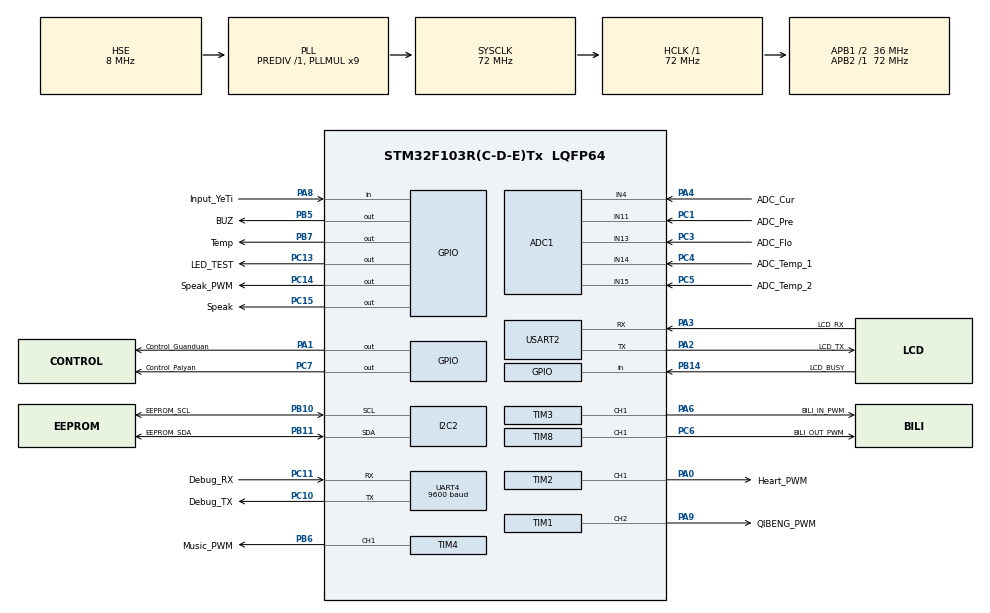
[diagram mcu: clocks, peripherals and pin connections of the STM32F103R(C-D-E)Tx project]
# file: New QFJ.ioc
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ADC1.Channel-0\#ChannelRegularConversion=ADC_CHANNEL_4
ADC1.Channel-1\#ChannelRegularConversion=ADC_CHANNEL_11
ADC1.Channel-2\#ChannelRegularConversion=ADC_CHANNEL_13
ADC1.Channel-3\#ChannelRegularConversion=ADC_CHANNEL_14
ADC1.Channel-4\#ChannelRegularConversion=ADC_CHANNEL_15
ADC1.ContinuousConvMode=ENABLE
ADC1.NbrOfConversion=5
ADC1.NbrOfConversionFlag=1
ADC1.Rank-0\#ChannelRegularConversion=1
ADC1.Rank-1\#ChannelRegularConversion=2
ADC1.Rank-2\#ChannelRegularConversion=3
ADC1.Rank-3\#ChannelRegularConversion=4
ADC1.Rank-4\#ChannelRegularConversion=5
ADC1.SamplingTime-0\#ChannelRegularConversion=ADC_SAMPLETIME_239CYCLES_5
ADC1.SamplingTime-1\#ChannelRegularConversion=ADC_SAMPLETIME_239CYCLES_5
ADC1.SamplingTime-2\#ChannelRegularConversion=ADC_SAMPLETIME_239CYCLES_5
ADC1.SamplingTime-3\#ChannelRegularConversion=ADC_SAMPLETIME_239CYCLES_5
ADC1.SamplingTime-4\#ChannelRegularConversion=ADC_SAMPLETIME_239CYCLES_5
ADC1.master=1
Dma.ADC1.0.Direction=DMA_PERIPH_TO_MEMORY
Dma.ADC1.0.Instance=DMA1_Channel1
Dma.ADC1.0.MemDataAlignment=DMA_MDATAALIGN_HALFWORD
Dma.ADC1.0.MemInc=DMA_MINC_ENABLE
Dma.ADC1.0.Mode=DMA_CIRCULAR
Dma.ADC1.0.PeriphDataAlignment=DMA_PDATAALIGN_HALFWORD
Dma.ADC1.0.PeriphInc=DMA_PINC_DISABLE
Dma.ADC1.0.Priority=DMA_PRIORITY_LOW
Dma.Request0=ADC1
IWDG.Prescaler=IWDG_PRESCALER_32
IWDG.Reload=2500
Mcu.Family=STM32F1
Mcu.Name=STM32F103R(C-D-E)Tx
Mcu.Package=LQFP64
NVIC.DMA1_Channel1_IRQn=true\:0\:0\:false\:false\:true\:false\:true\:true
NVIC.PriorityGroup=NVIC_PRIORITYGROUP_4
NVIC.TIM6_IRQn=true\:0\:0\:false\:false\:true\:true\:true\:true
NVIC.UART4_IRQn=true\:2\:0\:true\:false\:true\:true\:true\:true
NVIC.USART2_IRQn=true\:1\:0\:true\:false\:true\:true\:true\:true
PA0-WKUP.GPIO_Label=Heart_PWM
PA0-WKUP.Signal=S_TIM2_CH1_ETR
PA1.GPIO_Label=Control_Guanduan
PA1.GPIO_Speed=GPIO_SPEED_FREQ_HIGH
PA1.Signal=GPIO_Output
PA13.Mode=Serial_Wire
PA13.Signal=SYS_JTMS-SWDIO
PA14.Mode=Serial_Wire
PA14.Signal=SYS_JTCK-SWCLK
PA2.GPIO_Label=LCD_TX
PA2.Mode=Asynchronous
PA2.Signal=USART2_TX
PA3.GPIO_Label=LCD_RX
PA3.Mode=Asynchronous
PA3.Signal=USART2_RX
PA4.GPIO_Label=ADC_Cur
PA4.Signal=ADCx_IN4
PA6.GPIO_Label=BILI_IN_PWM
PA6.Signal=S_TIM3_CH1
PA8.GPIO_Label=Input_YeTi
PA8.GPIO_PuPd=GPIO_PULLDOWN
PA8.Signal=GPIO_Input
PA9.GPIO_Label=QIBENG_PWM
PA9.Signal=S_TIM1_CH2
PB10.GPIO_Label=EEPROM_SCL
PB10.Mode=I2C
PB10.Signal=I2C2_SCL
PB11.GPIO_Label=EEPROM_SDA
PB11.Mode=I2C
PB11.Signal=I2C2_SDA
PB14.GPIO_Label=LCD_BUSY
PB14.GPIO_PuPd=GPIO_PULLDOWN
PB14.Signal=GPIO_Input
PB5.GPIO_Label=BUZ
PB5.GPIO_Speed=GPIO_SPEED_FREQ_HIGH
PB5.Signal=GPIO_Output
PB6.GPIO_Label=Music_PWM
PB6.Signal=S_TIM4_CH1
PB7.GPIO_Label=Temp
PB7.GPIO_Speed=GPIO_SPEED_FREQ_HIGH
PB7.Signal=GPIO_Output
PC1.GPIO_Label=ADC_Pre
PC1.Signal=ADCx_IN11
PC10.GPIO_Label=Debug_TX
PC10.Mode=Asynchronous
PC10.Signal=UART4_TX
PC11.GPIO_Label=Debug_RX
PC11.Mode=Asynchronous
PC11.Signal=UART4_RX
PC13-TAMPER-RTC.GPIO_Label=LED_TEST
PC13-TAMPER-RTC.GPIO_Speed=GPIO_SPEED_FREQ_HIGH
PC13-TAMPER-RTC.Signal=GPIO_Output
PC14-OSC32_IN.GPIO_Label=Speak_PWM
PC14-OSC32_IN.Signal=GPIO_Output
PC15-OSC32_OUT.GPIO_Label=Speak
PC15-OSC32_OUT.Signal=GPIO_Output
PC3.GPIO_Label=ADC_Flo
PC3.Signal=ADCx_IN13
PC4.GPIO_Label=ADC_Temp_1
PC4.Signal=ADCx_IN14
PC5.GPIO_Label=ADC_Temp_2
PC5.Signal=ADCx_IN15
PC6.GPIO_Label=BILI_OUT_PWM
PC6.Signal=S_TIM8_CH1
PC7.GPIO_Label=Control_Paiyan
PC7.GPIO_Speed=GPIO_SPEED_FREQ_HIGH
PC7.Signal=GPIO_Output
PD0-OSC_IN.Mode=HSE-External-Oscillator
PD0-OSC_IN.Signal=RCC_OSC_IN
PD1-OSC_OUT.Mode=HSE-External-Oscillator
PD1-OSC_OUT.Signal=RCC_OSC_OUT
ProjectManager.HeapSize=0x200
ProjectManager.StackSize=0x400
ProjectManager.TargetToolchain=MDK-ARM V5.32
RCC.ADCPresc=RCC_ADCPCLK2_DIV6
RCC.AHBFreq_Value=72000000
RCC.APB1CLKDivider=RCC_HCLK_DIV2
RCC.APB1Freq_Value=36000000
RCC.APB1TimFreq_Value=72000000
RCC.APB2Freq_Value=72000000
RCC.APB2TimFreq_Value=72000000
RCC.HCLKFreq_Value=72000000
RCC.PLLMUL=RCC_PLL_MUL9
RCC.PLLSourceVirtual=RCC_PLLSOURCE_HSE
RCC.SYSCLKFreq_VALUE=72000000
RCC.SYSCLKSource=RCC_SYSCLKSOURCE_PLLCLK
RCC.USBFreq_Value=72000000
SH.ADCx_IN11.0=ADC1_IN11,IN11
SH.ADCx_IN13.0=ADC1_IN13,IN13
SH.ADCx_IN14.0=ADC1_IN14,IN14
SH.ADCx_IN15.0=ADC1_IN15,IN15
SH.ADCx_IN4.0=ADC1_IN4,IN4
SH.S_TIM1_CH2.0=TIM1_CH2,PWM Generation2 CH2
SH.S_TIM2_CH1_ETR.0=TIM2_CH1,PWM Generation1 CH1
SH.S_TIM3_CH1.0=TIM3_CH1,PWM Generation1 CH1
SH.S_TIM4_CH1.0=TIM4_CH1,PWM Generation1 CH1
SH.S_TIM8_CH1.0=TIM8_CH1,PWM Generation1 CH1
TIM1.AutoReloadPreload=TIM_AUTORELOAD_PRELOAD_ENABLE
TIM1.Channel-PWM\ Generation2\ CH2=TIM_CHANNEL_2
TIM1.Period=1000-1
TIM1.Prescaler=9-1
TIM2.AutoReloadPreload=TIM_AUTORELOAD_PRELOAD_ENABLE
TIM2.Channel-PWM\ Generation1\ CH1=TIM_CHANNEL_1
TIM2.Period=1000-1
TIM2.Prescaler=72-1
TIM3.AutoReloadPreload=TIM_AUTORELOAD_PRELOAD_ENABLE
TIM3.Channel-PWM\ Generation1\ CH1=TIM_CHANNEL_1
TIM3.Period=1000-1
TIM3.Prescaler=60-1
TIM4.AutoReloadPreload=TIM_AUTORELOAD_PRELOAD_ENABLE
TIM4.Channel-PWM\ Generation1\ CH1=TIM_CHANNEL_1
TIM4.Period=3830-1
TIM4.Prescaler=72-1
TIM6.AutoReloadPreload=TIM_AUTORELOAD_PRELOAD_ENABLE
TIM6.Period=10000-1
TIM6.Prescaler=72-1
TIM8.AutoReloadPreload=TIM_AUTORELOAD_PRELOAD_ENABLE
TIM8.Channel-PWM\ Generation1\ CH1=TIM_CHANNEL_1
TIM8.Period=1000-1
TIM8.Prescaler=60-1
UART4.BaudRate=9600
UART4.VirtualMode=Asynchronous
USART2.VirtualMode=VM_ASYNC
VP_IWDG_VS_IWDG.Mode=IWDG_Activate
VP_TIM1_VS_ClockSourceINT.Mode=Internal
VP_TIM2_VS_ClockSourceINT.Mode=Internal
VP_TIM3_VS_ClockSourceINT.Mode=Internal
VP_TIM4_VS_ClockSourceINT.Mode=Internal
VP_TIM6_VS_ClockSourceINT.Mode=Enable_Timer
VP_TIM8_VS_ClockSourceINT.Mode=Internal
board=custom

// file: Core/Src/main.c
/* USER CODE BEGIN Header */
/**
  ******************************************************************************
  * @file           : main.c
  * @brief          : Main program body
  ******************************************************************************
  * @attention
  *
  * Copyright (c) 2023 STMicroelectronics.
  * All rights reserved.
  *
  * This software is licensed under terms that can be found in the LICENSE file
  * in the root directory of this software component.
  * If no LICENSE file comes with this software, it is provided AS-IS.
  *
  ******************************************************************************
  */
/* USER CODE END Header */
#include "main.h"
#include "adc.h"
#include "dma.h"
#include "i2c.h"
#include "iwdg.h"
#include "tim.h"
#include "usart.h"
#include "gpio.h"

/* USER CODE BEGIN Includes */
#define  MAIN
#include "Constant.h"
/* USER CODE END Includes */

/* USER CODE BEGIN PTD */
#include "Type.h"
/* USER CODE END PTD */

/* USER CODE BEGIN PD */
#include "Prototype.h"
/* USER CODE END PD */

/* USER CODE BEGIN PM */
#include "Variable.h"
/* USER CODE END PM */

void SystemClock_Config(void);

int main(void)
{

  /* MCU Configuration--------------------------------------------------------*/

  /* Reset of all peripherals, Initializes the Flash interface and the Systick. */
  HAL_Init();

  /* Configure the system clock */
  SystemClock_Config();

  /* Initialize all configured peripherals */
  MX_GPIO_Init();
  MX_DMA_Init();
  MX_ADC1_Init();
  MX_IWDG_Init();
  MX_TIM2_Init();
  MX_USART2_UART_Init();
  MX_I2C2_Init();
  MX_TIM3_Init();
  MX_TIM8_Init();
  MX_UART4_Init();
  MX_TIM1_Init();
  MX_TIM6_Init();
  MX_TIM4_Init();
  /* USER CODE BEGIN 2 */
  queue_reset();                                                                  //清空串口接收缓冲区
  EEPROM_Data_Read();                                                             //EEPROM data for read

	HAL_UART_Receive_IT(&huart2, (uint8_t *)&acRxBuff, 1);                          //Uart2 Rx Open
	HAL_UART_Receive_IT(&huart4, (uint8_t *)&pcRxBuff, 1);                          //Uart4 Rx Open
	HAL_ADC_Start_DMA(&hadc1,(uint32_t *)ADC_DMA_Buffer,40);                        //ADC DMA Open
	HAL_TIM_PWM_Start(&htim1,TIM_CHANNEL_2);                                        //8000Hz PWM Open  qibeng PWM
	HAL_TIM_PWM_Start(&htim2,TIM_CHANNEL_1);                                        //1000Hz PWM Open  加热PWM
	HAL_TIM_PWM_Start(&htim3,TIM_CHANNEL_1);                                        //1200Hz PWM Open  进气比例阀
	HAL_TIM_PWM_Start(&htim4,TIM_CHANNEL_1);                                        //261Hz  PWM Open  扬声器频率
	HAL_TIM_PWM_Start(&htim8,TIM_CHANNEL_1);                                        //1200Hz PWM Open  泄放比例阀
	HAL_TIM_Base_Start_IT(&htim6);                                                  //enable Tim1 IT

	uTime_Run  		 = SetTimer(0,  50, TimerProc_Run);    //运行时钟
	uTime_Temp  	 = SetTimer(0,  200,TimerProc_Temp);    //温度扫描时钟
	uTime_Pres  	 = SetTimer(0,  10,  TimerProc_Pres);    //压力扫描时钟

	uGas_Value.Ave = 0;
	uGas_Value.Sum = 0;
	uGas_Value.Once = 0;
	uGas_Value.Back = 0;
	uTotal_GasF = 0;

	uTempPre.TargetP = 370;

	DelayTime(1200);

	SetTextValue(0,2,"ES031106");
	SetTextValue(0,3,"V1.7");
	DelayTime(1000);
	winMain();

  /* USER CODE END 2 */

  /* Infinite loop */
  while (1)
  {

    /* USER CODE BEGIN 3 */
			AnalysisUart2();     //LCD display
			TimerServer();       //task loop
			RefreshWindow();

	}

  /* USER CODE END 3 */
}

void SystemClock_Config(void)
{
  RCC_OscInitTypeDef RCC_OscInitStruct = {0};
  RCC_ClkInitTypeDef RCC_ClkInitStruct = {0};
  RCC_PeriphCLKInitTypeDef PeriphClkInit = {0};

  /** Initializes the RCC Oscillators according to the specified parameters
  * in the RCC_OscInitTypeDef structure.
  */
  RCC_OscInitStruct.OscillatorType = RCC_OSCILLATORTYPE_LSI|RCC_OSCILLATORTYPE_HSE;
  RCC_OscInitStruct.HSEState = RCC_HSE_ON;
  RCC_OscInitStruct.HSEPredivValue = RCC_HSE_PREDIV_DIV1;
  RCC_OscInitStruct.HSIState = RCC_HSI_ON;
  RCC_OscInitStruct.LSIState = RCC_LSI_ON;
  RCC_OscInitStruct.PLL.PLLState = RCC_PLL_ON;
  RCC_OscInitStruct.PLL.PLLSource = RCC_PLLSOURCE_HSE;
  RCC_OscInitStruct.PLL.PLLMUL = RCC_PLL_MUL9;
  if (HAL_RCC_OscConfig(&RCC_OscInitStruct) != HAL_OK)
  {
    Error_Handler();
  }

  /** Initializes the CPU, AHB and APB buses clocks
  */
  RCC_ClkInitStruct.ClockType = RCC_CLOCKTYPE_HCLK|RCC_CLOCKTYPE_SYSCLK
                              |RCC_CLOCKTYPE_PCLK1|RCC_CLOCKTYPE_PCLK2;
  RCC_ClkInitStruct.SYSCLKSource = RCC_SYSCLKSOURCE_PLLCLK;
  RCC_ClkInitStruct.AHBCLKDivider = RCC_SYSCLK_DIV1;
  RCC_ClkInitStruct.APB1CLKDivider = RCC_HCLK_DIV2;
  RCC_ClkInitStruct.APB2CLKDivider = RCC_HCLK_DIV1;

  if (HAL_RCC_ClockConfig(&RCC_ClkInitStruct, FLASH_LATENCY_2) != HAL_OK)
  {
    Error_Handler();
  }
  PeriphClkInit.PeriphClockSelection = RCC_PERIPHCLK_ADC;
  PeriphClkInit.AdcClockSelection = RCC_ADCPCLK2_DIV6;
  if (HAL_RCCEx_PeriphCLKConfig(&PeriphClkInit) != HAL_OK)
  {
    Error_Handler();
  }
}

void Error_Handler(void)
{
  __disable_irq();
  while (1)
  {
  }
}
